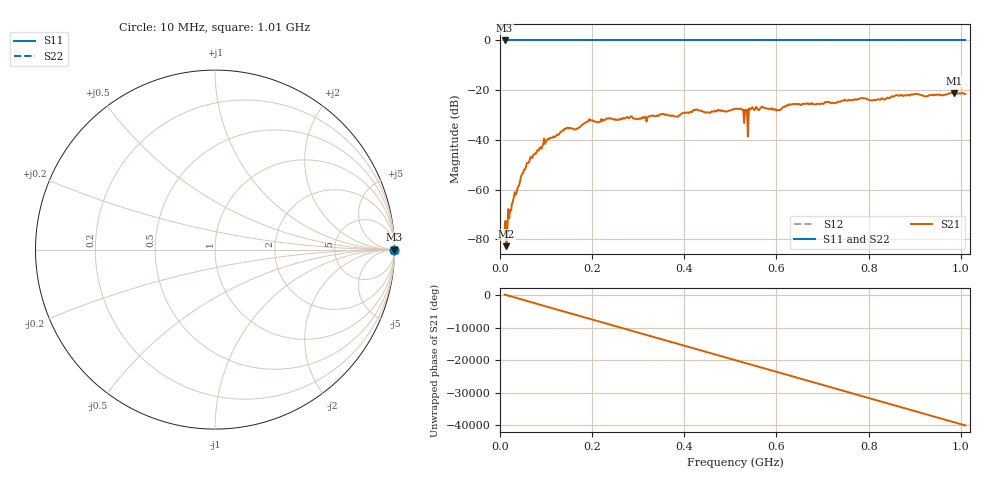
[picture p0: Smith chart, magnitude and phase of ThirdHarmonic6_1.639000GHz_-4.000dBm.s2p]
! 8/16/2025 7:36:02 PM
! C:\ANRITSUVNA\TEMP\TEMP.S2P
! CHANNEL.1
! TR.MEASUREMENT
! RAW.DATA
! RF.CORRECTION.OFF
! AVERAGING.OFF
! IF.BANDWIDTH: 5KHZ
! SWEEPTYPE:  FREQ.SWEEP(Linear)
! Reference Plane Port Info
! PORT:  PORT1  PORT2
! DISTANCE:  0  m  0  m
! TIME:  0  s  0  s
! PHASE.OFFSET:  0  deg.  0  deg.
! LOSS:  0  dB  0  dB
! REF.LOSS:  0  dB  0  dB
! REF.FREQ:  0  Hz  0  Hz
! Power Info
! POWER:  -20  dBm  -20  dBm
! EFF.POWER:  -20  dBm  -20  dBm
! SOURCE.ATTEN:  0  dB  0  dB
! TEST.ATTEN:  0  dB  0  dB
# GHZ S RI R 50.0
! FREQ.GHZ  S11RE  S11IM  S21RE  S21IM  S12RE  S12IM  S22RE  S22IM
!; PortSelection: Port_12
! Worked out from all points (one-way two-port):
!   501 points, 10 MHz to 1.01 GHz, reference 50 ohm
!   highest |S21| = -21.09 dB at 986 MHz (marker M1); lowest = -82.8 dB at 14 MHz (marker M2)
!   lowest |S11| = 0.0 dB at 10 MHz (marker M3)
!   |S11| at or under -10 dB: nowhere
!   |S22| runs from 0.0 to 0.0 dB; largest |S21 - S12| = 1.1
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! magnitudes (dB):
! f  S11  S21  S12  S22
! 10 MHz  0.0  -76.8  0.0  0.0
! 14 MHz  0.0  -82.8  0.0  0.0
! 30 MHz  0.0  -62.9  0.0  0.0
! 48 MHz  0.0  -53.8  0.0  0.0
! 70 MHz  0.0  -47.4  0.0  0.0
! 100 MHz  0.0  -40.6  0.0  0.0
! 144 MHz  0.0  -35.3  0.0  0.0
! 178 MHz  0.0  -34.1  0.0  0.0
! 196 MHz  0.0  -32.2  0.0  0.0
! 344 MHz  0.0  -30.4  0.0  0.0
! 510 MHz  0.0  -27.5  0.0  0.0
! 524 MHz  0.0  -27.7  0.0  0.0
! 532 MHz  0.0  -27.9  0.0  0.0
! 534 MHz  0.0  -28.1  0.0  0.0
! 542 MHz  0.0  -27.8  0.0  0.0
! 544 MHz  0.0  -27.7  0.0  0.0
! 604 MHz  0.0  -28.0  0.0  0.0
! 632 MHz  0.0  -25.8  0.0  0.0
! 678 MHz  0.0  -25.5  0.0  0.0
! 844 MHz  0.0  -23.2  0.0  0.0
! 986 MHz  0.0  -21.1  0.0  0.0
! 1.01 GHz  0.0  -21.5  0.0  0.0
